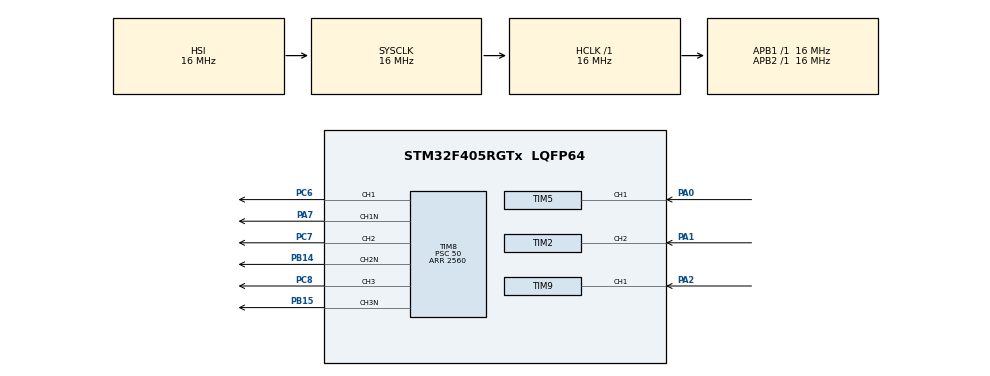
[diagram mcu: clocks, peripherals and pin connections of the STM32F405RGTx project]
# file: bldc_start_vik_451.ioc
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Mcu.Family=STM32F4
Mcu.Name=STM32F405RGTx
Mcu.Package=LQFP64
NVIC.PriorityGroup=NVIC_PRIORITYGROUP_4
NVIC.TIM1_BRK_TIM9_IRQn=true\:0\:0\:false\:false\:true\:true\:true
NVIC.TIM2_IRQn=true\:0\:0\:false\:false\:true\:true\:true
NVIC.TIM5_IRQn=true\:0\:0\:false\:false\:true\:true\:true
NVIC.TIM6_DAC_IRQn=true\:0\:0\:false\:false\:true\:true\:true
PA0-WKUP.GPIO_PuPd=GPIO_PULLUP
PA0-WKUP.GPIO_Speed=GPIO_SPEED_FREQ_VERY_HIGH
PA0-WKUP.Signal=S_TIM5_CH1
PA1.GPIO_PuPd=GPIO_PULLUP
PA1.GPIO_Speed=GPIO_SPEED_FREQ_VERY_HIGH
PA1.Signal=S_TIM2_CH2
PA2.GPIO_PuPd=GPIO_PULLUP
PA2.GPIO_Speed=GPIO_SPEED_FREQ_VERY_HIGH
PA2.Signal=S_TIM9_CH1
PA7.Mode=PWM Generation1 CH1 CH1N
PA7.Signal=TIM8_CH1N
PB14.Mode=PWM Generation2 CH2 CH2N
PB14.Signal=TIM8_CH2N
PB15.Mode=PWM Generation3 CH3 CH3N
PB15.Signal=TIM8_CH3N
PC6.Signal=S_TIM8_CH1
PC7.Signal=S_TIM8_CH2
PC8.Signal=S_TIM8_CH3
ProjectManager.HeapSize=0x200
ProjectManager.StackSize=0x400
ProjectManager.TargetToolchain=MDK-ARM V5.32
RCC.AHBFreq_Value=16000000
RCC.APB1Freq_Value=16000000
RCC.APB2Freq_Value=16000000
RCC.CortexFreq_Value=16000000
RCC.HSE_VALUE=25000000
RCC.HSI_VALUE=16000000
RCC.LSE_VALUE=32768
RCC.SYSCLKFreq_VALUE=16000000
RCC.VCOOutputFreq_Value=192000000
SH.S_TIM2_CH2.0=TIM2_CH2,Input_Capture2_from_TI2
SH.S_TIM5_CH1.0=TIM5_CH1,Input_Capture1_from_TI1
SH.S_TIM8_CH1.0=TIM8_CH1,PWM Generation1 CH1 CH1N
SH.S_TIM8_CH2.0=TIM8_CH2,PWM Generation2 CH2 CH2N
SH.S_TIM8_CH3.0=TIM8_CH3,PWM Generation3 CH3 CH3N
SH.S_TIM9_CH1.0=TIM9_CH1,Input_Capture1_from_TI1
TIM2.Channel-Input_Capture1_from_TI2_63=TIM_CHANNEL_1
TIM2.Channel-Input_Capture2_from_TI2=TIM_CHANNEL_2
TIM2.ICFilter_CH2=15
TIM2.ICPolarity_CH1=TIM_INPUTCHANNELPOLARITY_FALLING
TIM2.Period=0xFFFFFFF
TIM2.Prescaler=15
TIM5.Channel-Input_Capture1_from_TI1=TIM_CHANNEL_1
TIM5.Channel-Input_Capture2_from_TI1_63=TIM_CHANNEL_2
TIM5.ICFilter_CH1=15
TIM5.ICPolarity_CH2=TIM_INPUTCHANNELPOLARITY_FALLING
TIM5.Period=0xFFFFFFF
TIM5.Prescaler=15
TIM6.Prescaler=15
TIM8.AutoReloadPreload=TIM_AUTORELOAD_PRELOAD_DISABLE
TIM8.BreakPolarity=TIM_BREAKPOLARITY_LOW
TIM8.Channel-PWM\ Generation1\ CH1\ CH1N=TIM_CHANNEL_1
TIM8.Channel-PWM\ Generation2\ CH2\ CH2N=TIM_CHANNEL_2
TIM8.Channel-PWM\ Generation3\ CH3\ CH3N=TIM_CHANNEL_3
TIM8.DeadTime=50
TIM8.OCNPolarity_1=TIM_OCNPOLARITY_LOW
TIM8.OCNPolarity_2=TIM_OCNPOLARITY_LOW
TIM8.OCNPolarity_3=TIM_OCNPOLARITY_LOW
TIM8.OCPolarity_1=TIM_OCPOLARITY_LOW
TIM8.OCPolarity_2=TIM_OCPOLARITY_LOW
TIM8.OCPolarity_3=TIM_OCPOLARITY_LOW
TIM8.Period=2560
TIM8.Prescaler=50
TIM9.Channel-Input_Capture1_from_TI1=TIM_CHANNEL_1
TIM9.Channel-Input_Capture2_from_TI1_63=TIM_CHANNEL_2
TIM9.ICFilter_CH1=15
TIM9.ICPolarity_CH2=TIM_INPUTCHANNELPOLARITY_FALLING
TIM9.Prescaler=15
VP_TIM2_VS_ClockSourceINT.Mode=Internal
VP_TIM2_VS_indirect_ch2.Mode=Input_Capture1_from_TI2_63
VP_TIM5_VS_ClockSourceINT.Mode=Internal
VP_TIM5_VS_indirect_ch1.Mode=Input_Capture2_from_TI1_63
VP_TIM6_VS_ClockSourceINT.Mode=Enable_Timer
VP_TIM8_VS_ClockSourceINT.Mode=Internal
VP_TIM9_VS_ClockSourceINT.Mode=Internal
VP_TIM9_VS_indirect_ch1.Mode=Input_Capture2_from_TI1_63
board=custom

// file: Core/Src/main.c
/* USER CODE BEGIN Header */
/**
  ******************************************************************************
  * @file           : main.c
  * @brief          : Main program body
  ******************************************************************************
  * @attention
  *
  * <h2><center>&copy; Copyright (c) 2023 STMicroelectronics.
  * All rights reserved.</center></h2>
  *
  * This software component is licensed by ST under BSD 3-Clause license,
  * the "License"; You may not use this file except in compliance with the
  * License. You may obtain a copy of the License at:
  *                        opensource.org/licenses/BSD-3-Clause
  *
  ******************************************************************************
  */
/* USER CODE END Header */
#include "main.h"

TIM_HandleTypeDef htim2;
TIM_HandleTypeDef htim5;
TIM_HandleTypeDef htim6;
TIM_HandleTypeDef htim8;
TIM_HandleTypeDef htim9;

/* USER CODE BEGIN PV */

uint32_t counter = 0;
uint16_t current_number = 0;
uint32_t current_position = 0;
uint32_t tim6_counter_period = 65535;
uint32_t speed = 0;
uint8_t H1 = 0;
uint8_t H2 = 0;
uint8_t H3 = 0;

uint32_t count_overflow = 0;
uint32_t mean_rate = 0;

uint32_t power = 900;// max power == 256

int32_t timing = 0;

int32_t direction = 1;//direction of rotation

/* USER CODE END PV */

void SystemClock_Config(void);
static void MX_GPIO_Init(void);
static void MX_TIM2_Init(void);
static void MX_TIM5_Init(void);
static void MX_TIM9_Init(void);
static void MX_TIM6_Init(void);
static void MX_TIM8_Init(void);

int main(void)
{

  /* MCU Configuration--------------------------------------------------------*/

  /* Reset of all peripherals, Initializes the Flash interface and the Systick. */
  HAL_Init();

  /* Configure the system clock */
  SystemClock_Config();

  /* Initialize all configured peripherals */
  MX_GPIO_Init();
  MX_TIM2_Init();
  MX_TIM5_Init();
  MX_TIM9_Init();
  MX_TIM6_Init();
  MX_TIM8_Init();
  /* USER CODE BEGIN 2 */
	HAL_TIM_PWM_Start(&htim8, TIM_CHANNEL_1);
	HAL_TIMEx_PWMN_Start(&htim8, TIM_CHANNEL_1);
	HAL_TIM_PWM_Start(&htim8, TIM_CHANNEL_2);
	HAL_TIMEx_PWMN_Start(&htim8, TIM_CHANNEL_2);
	HAL_TIM_PWM_Start(&htim8, TIM_CHANNEL_3);
	HAL_TIMEx_PWMN_Start(&htim8, TIM_CHANNEL_3);
	HAL_TIM_Base_Start_IT(&htim6);
	HAL_TIM_IC_Start_IT(&htim5, TIM_CHANNEL_1);
  HAL_TIM_IC_Start_IT(&htim5, TIM_CHANNEL_2);
	HAL_TIM_IC_Start_IT(&htim2, TIM_CHANNEL_1);
  HAL_TIM_IC_Start_IT(&htim2, TIM_CHANNEL_2);
	HAL_TIM_IC_Start_IT(&htim9, TIM_CHANNEL_1);
  HAL_TIM_IC_Start_IT(&htim9, TIM_CHANNEL_2);
  /* USER CODE END 2 */

  /* Infinite loop */
  while (1)
  {

  }
}

void SystemClock_Config(void)
{
  RCC_OscInitTypeDef RCC_OscInitStruct = {0};
  RCC_ClkInitTypeDef RCC_ClkInitStruct = {0};

  /** Configure the main internal regulator output voltage
  */
  __HAL_RCC_PWR_CLK_ENABLE();
  __HAL_PWR_VOLTAGESCALING_CONFIG(PWR_REGULATOR_VOLTAGE_SCALE1);
  /** Initializes the RCC Oscillators according to the specified parameters
  * in the RCC_OscInitTypeDef structure.
  */
  RCC_OscInitStruct.OscillatorType = RCC_OSCILLATORTYPE_HSI;
  RCC_OscInitStruct.HSIState = RCC_HSI_ON;
  RCC_OscInitStruct.HSICalibrationValue = RCC_HSICALIBRATION_DEFAULT;
  RCC_OscInitStruct.PLL.PLLState = RCC_PLL_NONE;
  if (HAL_RCC_OscConfig(&RCC_OscInitStruct) != HAL_OK)
  {
    Error_Handler();
  }
  /** Initializes the CPU, AHB and APB buses clocks
  */
  RCC_ClkInitStruct.ClockType = RCC_CLOCKTYPE_HCLK|RCC_CLOCKTYPE_SYSCLK
                              |RCC_CLOCKTYPE_PCLK1|RCC_CLOCKTYPE_PCLK2;
  RCC_ClkInitStruct.SYSCLKSource = RCC_SYSCLKSOURCE_HSI;
  RCC_ClkInitStruct.AHBCLKDivider = RCC_SYSCLK_DIV1;
  RCC_ClkInitStruct.APB1CLKDivider = RCC_HCLK_DIV1;
  RCC_ClkInitStruct.APB2CLKDivider = RCC_HCLK_DIV1;

  if (HAL_RCC_ClockConfig(&RCC_ClkInitStruct, FLASH_LATENCY_0) != HAL_OK)
  {
    Error_Handler();
  }
}

static void MX_TIM2_Init(void)
{

  TIM_ClockConfigTypeDef sClockSourceConfig = {0};
  TIM_MasterConfigTypeDef sMasterConfig = {0};
  TIM_IC_InitTypeDef sConfigIC = {0};

  htim2.Instance = TIM2;
  htim2.Init.Prescaler = 15;
  htim2.Init.CounterMode = TIM_COUNTERMODE_UP;
  htim2.Init.Period = 0xFFFFFFF;
  htim2.Init.ClockDivision = TIM_CLOCKDIVISION_DIV1;
  htim2.Init.AutoReloadPreload = TIM_AUTORELOAD_PRELOAD_DISABLE;
  if (HAL_TIM_Base_Init(&htim2) != HAL_OK)
  {
    Error_Handler();
  }
  sClockSourceConfig.ClockSource = TIM_CLOCKSOURCE_INTERNAL;
  if (HAL_TIM_ConfigClockSource(&htim2, &sClockSourceConfig) != HAL_OK)
  {
    Error_Handler();
  }
  if (HAL_TIM_IC_Init(&htim2) != HAL_OK)
  {
    Error_Handler();
  }
  sMasterConfig.MasterOutputTrigger = TIM_TRGO_RESET;
  sMasterConfig.MasterSlaveMode = TIM_MASTERSLAVEMODE_DISABLE;
  if (HAL_TIMEx_MasterConfigSynchronization(&htim2, &sMasterConfig) != HAL_OK)
  {
    Error_Handler();
  }
  sConfigIC.ICPolarity = TIM_INPUTCHANNELPOLARITY_FALLING;
  sConfigIC.ICSelection = TIM_ICSELECTION_INDIRECTTI;
  sConfigIC.ICPrescaler = TIM_ICPSC_DIV1;
  sConfigIC.ICFilter = 0;
  if (HAL_TIM_IC_ConfigChannel(&htim2, &sConfigIC, TIM_CHANNEL_1) != HAL_OK)
  {
    Error_Handler();
  }
  sConfigIC.ICPolarity = TIM_INPUTCHANNELPOLARITY_RISING;
  sConfigIC.ICSelection = TIM_ICSELECTION_DIRECTTI;
  sConfigIC.ICFilter = 15;
  if (HAL_TIM_IC_ConfigChannel(&htim2, &sConfigIC, TIM_CHANNEL_2) != HAL_OK)
  {
    Error_Handler();
  }

}

static void MX_TIM5_Init(void)
{

  TIM_ClockConfigTypeDef sClockSourceConfig = {0};
  TIM_MasterConfigTypeDef sMasterConfig = {0};
  TIM_IC_InitTypeDef sConfigIC = {0};

  htim5.Instance = TIM5;
  htim5.Init.Prescaler = 15;
  htim5.Init.CounterMode = TIM_COUNTERMODE_UP;
  htim5.Init.Period = 0xFFFFFFF;
  htim5.Init.ClockDivision = TIM_CLOCKDIVISION_DIV1;
  htim5.Init.AutoReloadPreload = TIM_AUTORELOAD_PRELOAD_DISABLE;
  if (HAL_TIM_Base_Init(&htim5) != HAL_OK)
  {
    Error_Handler();
  }
  sClockSourceConfig.ClockSource = TIM_CLOCKSOURCE_INTERNAL;
  if (HAL_TIM_ConfigClockSource(&htim5, &sClockSourceConfig) != HAL_OK)
  {
    Error_Handler();
  }
  if (HAL_TIM_IC_Init(&htim5) != HAL_OK)
  {
    Error_Handler();
  }
  sMasterConfig.MasterOutputTrigger = TIM_TRGO_RESET;
  sMasterConfig.MasterSlaveMode = TIM_MASTERSLAVEMODE_DISABLE;
  if (HAL_TIMEx_MasterConfigSynchronization(&htim5, &sMasterConfig) != HAL_OK)
  {
    Error_Handler();
  }
  sConfigIC.ICPolarity = TIM_INPUTCHANNELPOLARITY_RISING;
  sConfigIC.ICSelection = TIM_ICSELECTION_DIRECTTI;
  sConfigIC.ICPrescaler = TIM_ICPSC_DIV1;
  sConfigIC.ICFilter = 15;
  if (HAL_TIM_IC_ConfigChannel(&htim5, &sConfigIC, TIM_CHANNEL_1) != HAL_OK)
  {
    Error_Handler();
  }
  sConfigIC.ICPolarity = TIM_INPUTCHANNELPOLARITY_FALLING;
  sConfigIC.ICSelection = TIM_ICSELECTION_INDIRECTTI;
  sConfigIC.ICFilter = 0;
  if (HAL_TIM_IC_ConfigChannel(&htim5, &sConfigIC, TIM_CHANNEL_2) != HAL_OK)
  {
    Error_Handler();
  }

}

static void MX_TIM6_Init(void)
{

  TIM_MasterConfigTypeDef sMasterConfig = {0};

  htim6.Instance = TIM6;
  htim6.Init.Prescaler = 15;
  htim6.Init.CounterMode = TIM_COUNTERMODE_UP;
  htim6.Init.Period = 65535;
  htim6.Init.AutoReloadPreload = TIM_AUTORELOAD_PRELOAD_DISABLE;
  if (HAL_TIM_Base_Init(&htim6) != HAL_OK)
  {
    Error_Handler();
  }
  sMasterConfig.MasterOutputTrigger = TIM_TRGO_RESET;
  sMasterConfig.MasterSlaveMode = TIM_MASTERSLAVEMODE_DISABLE;
  if (HAL_TIMEx_MasterConfigSynchronization(&htim6, &sMasterConfig) != HAL_OK)
  {
    Error_Handler();
  }

}

static void MX_TIM8_Init(void)
{

  TIM_ClockConfigTypeDef sClockSourceConfig = {0};
  TIM_MasterConfigTypeDef sMasterConfig = {0};
  TIM_OC_InitTypeDef sConfigOC = {0};
  TIM_BreakDeadTimeConfigTypeDef sBreakDeadTimeConfig = {0};

  htim8.Instance = TIM8;
  htim8.Init.Prescaler = 50;
  htim8.Init.CounterMode = TIM_COUNTERMODE_UP;
  htim8.Init.Period = 2560;
  htim8.Init.ClockDivision = TIM_CLOCKDIVISION_DIV1;
  htim8.Init.RepetitionCounter = 0;
  htim8.Init.AutoReloadPreload = TIM_AUTORELOAD_PRELOAD_DISABLE;
  if (HAL_TIM_Base_Init(&htim8) != HAL_OK)
  {
    Error_Handler();
  }
  sClockSourceConfig.ClockSource = TIM_CLOCKSOURCE_INTERNAL;
  if (HAL_TIM_ConfigClockSource(&htim8, &sClockSourceConfig) != HAL_OK)
  {
    Error_Handler();
  }
  if (HAL_TIM_PWM_Init(&htim8) != HAL_OK)
  {
    Error_Handler();
  }
  sMasterConfig.MasterOutputTrigger = TIM_TRGO_RESET;
  sMasterConfig.MasterSlaveMode = TIM_MASTERSLAVEMODE_DISABLE;
  if (HAL_TIMEx_MasterConfigSynchronization(&htim8, &sMasterConfig) != HAL_OK)
  {
    Error_Handler();
  }
  sConfigOC.OCMode = TIM_OCMODE_PWM1;
  sConfigOC.Pulse = 0;
  sConfigOC.OCPolarity = TIM_OCPOLARITY_LOW;
  sConfigOC.OCNPolarity = TIM_OCNPOLARITY_LOW;
  sConfigOC.OCFastMode = TIM_OCFAST_DISABLE;
  sConfigOC.OCIdleState = TIM_OCIDLESTATE_RESET;
  sConfigOC.OCNIdleState = TIM_OCNIDLESTATE_RESET;
  if (HAL_TIM_PWM_ConfigChannel(&htim8, &sConfigOC, TIM_CHANNEL_1) != HAL_OK)
  {
    Error_Handler();
  }
  if (HAL_TIM_PWM_ConfigChannel(&htim8, &sConfigOC, TIM_CHANNEL_2) != HAL_OK)
  {
    Error_Handler();
  }
  if (HAL_TIM_PWM_ConfigChannel(&htim8, &sConfigOC, TIM_CHANNEL_3) != HAL_OK)
  {
    Error_Handler();
  }
  sBreakDeadTimeConfig.OffStateRunMode = TIM_OSSR_DISABLE;
  sBreakDeadTimeConfig.OffStateIDLEMode = TIM_OSSI_DISABLE;
  sBreakDeadTimeConfig.LockLevel = TIM_LOCKLEVEL_OFF;
  sBreakDeadTimeConfig.DeadTime = 50;
  sBreakDeadTimeConfig.BreakState = TIM_BREAK_DISABLE;
  sBreakDeadTimeConfig.BreakPolarity = TIM_BREAKPOLARITY_LOW;
  sBreakDeadTimeConfig.AutomaticOutput = TIM_AUTOMATICOUTPUT_DISABLE;
  if (HAL_TIMEx_ConfigBreakDeadTime(&htim8, &sBreakDeadTimeConfig) != HAL_OK)
  {
    Error_Handler();
  }
  HAL_TIM_MspPostInit(&htim8);

}

static void MX_TIM9_Init(void)
{

  TIM_ClockConfigTypeDef sClockSourceConfig = {0};
  TIM_IC_InitTypeDef sConfigIC = {0};

  htim9.Instance = TIM9;
  htim9.Init.Prescaler = 15;
  htim9.Init.CounterMode = TIM_COUNTERMODE_UP;
  htim9.Init.Period = 65535;
  htim9.Init.ClockDivision = TIM_CLOCKDIVISION_DIV1;
  htim9.Init.AutoReloadPreload = TIM_AUTORELOAD_PRELOAD_DISABLE;
  if (HAL_TIM_Base_Init(&htim9) != HAL_OK)
  {
    Error_Handler();
  }
  sClockSourceConfig.ClockSource = TIM_CLOCKSOURCE_INTERNAL;
  if (HAL_TIM_ConfigClockSource(&htim9, &sClockSourceConfig) != HAL_OK)
  {
    Error_Handler();
  }
  if (HAL_TIM_IC_Init(&htim9) != HAL_OK)
  {
    Error_Handler();
  }
  sConfigIC.ICPolarity = TIM_INPUTCHANNELPOLARITY_RISING;
  sConfigIC.ICSelection = TIM_ICSELECTION_DIRECTTI;
  sConfigIC.ICPrescaler = TIM_ICPSC_DIV1;
  sConfigIC.ICFilter = 15;
  if (HAL_TIM_IC_ConfigChannel(&htim9, &sConfigIC, TIM_CHANNEL_1) != HAL_OK)
  {
    Error_Handler();
  }
  sConfigIC.ICPolarity = TIM_INPUTCHANNELPOLARITY_FALLING;
  sConfigIC.ICSelection = TIM_ICSELECTION_INDIRECTTI;
  sConfigIC.ICFilter = 0;
  if (HAL_TIM_IC_ConfigChannel(&htim9, &sConfigIC, TIM_CHANNEL_2) != HAL_OK)
  {
    Error_Handler();
  }

}

static void MX_GPIO_Init(void)
{

  /* GPIO Ports Clock Enable */
  __HAL_RCC_GPIOA_CLK_ENABLE();
  __HAL_RCC_GPIOB_CLK_ENABLE();
  __HAL_RCC_GPIOC_CLK_ENABLE();

}

void Error_Handler(void)
{
  __disable_irq();
  while (1)
  {
  }
}

/************************ (C) COPYRIGHT STMicroelectronics *****END OF FILE****/
